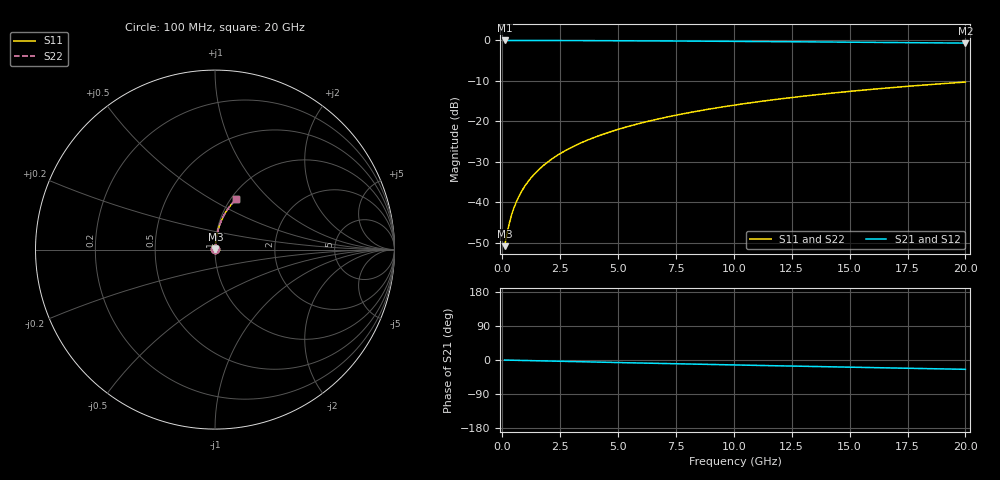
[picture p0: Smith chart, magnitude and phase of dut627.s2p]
! Touchstone file exported from HFSS 2024.1.0
!  File:  C:/UserFiles/LocalFiles/RDL_TSV_Batchsim/temp_RDL_bottom_627_1779784330.aedt
!  Generated:  04:34:43 PM May 26, 2026
!  Design:  RDL_bottom
!  Project:  temp_RDL_bottom_627_1779784330
!  Setup:  Setup1
!  Solution:  Sweep
! Variables:
!  dtsv = 10.80580581um
!  hbump = 3um
!  htsv = 71.83um
!  ldown = 292.79um
!  lrdl = 100um
!  p = 40
!  p1 = 44.81um
!  rhole = 1um
!  t = 450um
!  tdown = 4.01um
!  trdl = 3.915915916um
!  wdown = 11.53um
!  wrdl = 20um
# GHz S MA R 50.000000
! Terminal data exported
! Port[1] = RDL1_T1
! Port[2] = RDL1_T2
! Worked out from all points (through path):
!   200 points, 100 MHz to 20 GHz, reference 50 ohm
!   highest |S21| = -0.02 dB at 100 MHz (marker M1); lowest = -0.7 dB at 20 GHz (marker M2)
!   group delay of S21, straight-line fit = 3.41 ps
!   lowest |S11| = -50.9 dB at 100 MHz (marker M3), VSWR 1.01, Z = 50.2 + j0.165 ohm
!   |S11| at or under -10 dB: start of sweep to end of sweep
!   |S22| runs from -50.9 to -10.3 dB; largest |S21 - S12| = 2.6e-15
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0.1  0.002866 35.0  0.9977 -0.1  0.9977 -0.1  0.002866 35.0
! Gamma 0 0 0 0
! Port Impedance 50 0 50 0
0.2  0.004055 53.9  0.9976 -0.3  0.9976 -0.3  0.004055 53.9
0.3  0.005465 63.5  0.9976 -0.4  0.9976 -0.4  0.005465 63.5
0.4  0.006952 68.9  0.9975 -0.6  0.9975 -0.6  0.006952 68.9
0.5  0.00847 72.4  0.9974 -0.7  0.9974 -0.7  0.00847 72.4
0.6  0.01001 74.8  0.9974 -0.8  0.9974 -0.8  0.01001 74.8
0.8  0.0131 77.9  0.9972 -1.1  0.9972 -1.1  0.0131 77.9
1.1  0.0178 80.5  0.997 -1.5  0.997 -1.5  0.0178 80.5
1.5  0.02409 82.2  0.9966 -2.1  0.9966 -2.1  0.02409 82.2
1.8  0.02883 82.9  0.9963 -2.5  0.9963 -2.5  0.02883 82.9
2.1  0.03357 83.3  0.9959 -2.9  0.9959 -2.9  0.03357 83.3
2.7  0.04307 83.6  0.995 -3.7  0.995 -3.7  0.04307 83.6
3.5  0.05574 83.5  0.9935 -4.7  0.9935 -4.7  0.05574 83.5
4.2  0.06683 83.2  0.9919 -5.7  0.9919 -5.7  0.06683 83.2
5  0.0795 82.7  0.9898 -6.7  0.9898 -6.7  0.07949 82.7
5.9  0.09374 82.0  0.9872 -7.9  0.9872 -7.9  0.09374 82.0
6.8  0.108 81.2  0.9843 -9.0  0.9843 -9.0  0.108 81.2
8.3  0.1316 79.8  0.979 -10.9  0.979 -10.9  0.1316 79.8
10.1  0.1598 78.0  0.972 -13.2  0.972 -13.2  0.1598 78.0
13.4  0.2104 74.4  0.9578 -17.1  0.9578 -17.1  0.2104 74.4
16.7  0.2592 70.8  0.9422 -20.9  0.9422 -20.9  0.2592 70.8
20  0.3056 67.2  0.9253 -24.6  0.9253 -24.6  0.3055 67.2
